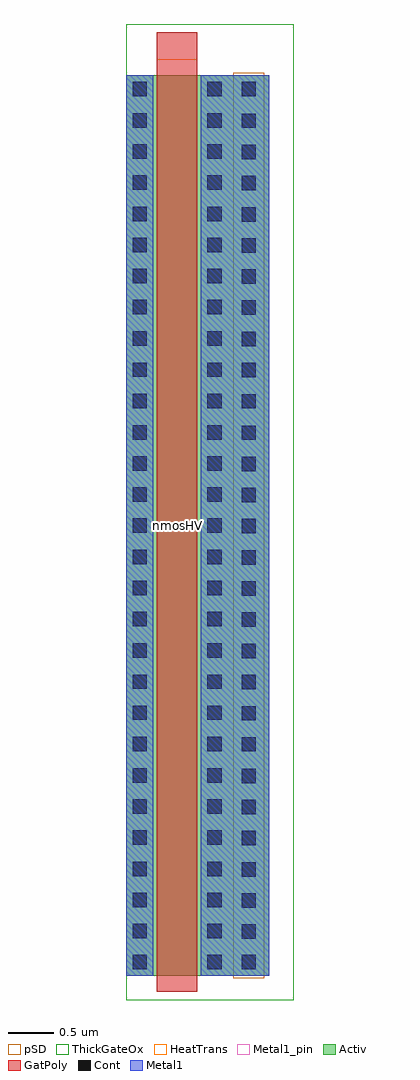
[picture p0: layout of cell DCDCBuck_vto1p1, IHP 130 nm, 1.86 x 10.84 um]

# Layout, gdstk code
import gdstk
lib = gdstk.Library(unit=1e-6, precision=5e-09)
def R(c, l, rs):  # rectangles x0, y0, x1, y1
    for r in rs: c.add(gdstk.rectangle(r[:2], r[2:], *l))
def A(c, l, x, y, w, h, nx, ny, dx, dy):  # array of equal rectangles
    R(c, l, [(x+i*dx, y+j*dy, x+i*dx+w, y+j*dy+h) for i in range(nx) for j in range(ny)])
Activ = (1, 0)
GatPoly = (5, 0)
Cont = (6, 0)
Metal1 = (8, 0)
Metal1_pin = (8, 2)
pSD = (14, 0)
ThickGateOx = (44, 0)
HeatTrans = (51, 0)

dcdcbuck_vto1p1 = lib.new_cell('DCDCBuck_vto1p1')
R(dcdcbuck_vto1p1, Activ, [(361.425,220.535,361.725,220.835), (361.425,220.535,362.555,230.535), (362.255,220.535,362.555,220.835), (362.555,220.535,363.015,230.535)])
R(dcdcbuck_vto1p1, GatPoly, [(361.765,220.355,362.215,231.015)])
A(dcdcbuck_vto1p1, Cont, 361.495, 220.605, 0.16, 0.16, 1, 4, 0, 0.345)
A(dcdcbuck_vto1p1, Cont, 362.325, 220.605, 0.16, 0.16, 1, 4, 0, 0.345)
A(dcdcbuck_vto1p1, Cont, 362.705, 220.945, 0.16, 0.16, 1, 3, 0, 0.345)
A(dcdcbuck_vto1p1, Cont, 362.705, 221.985, 0.16, 0.16, 1, 3, 0, 0.345)
A(dcdcbuck_vto1p1, Cont, 361.495, 221.99, 0.16, 0.16, 1, 3, 0, 0.345)
A(dcdcbuck_vto1p1, Cont, 362.325, 221.99, 0.16, 0.16, 1, 3, 0, 0.345)
A(dcdcbuck_vto1p1, Cont, 362.705, 223.025, 0.16, 0.16, 1, 4, 0, 0.345)
A(dcdcbuck_vto1p1, Cont, 361.495, 223.03, 0.16, 0.16, 1, 4, 0, 0.345)
A(dcdcbuck_vto1p1, Cont, 362.325, 223.03, 0.16, 0.16, 1, 4, 0, 0.345)
A(dcdcbuck_vto1p1, Cont, 362.705, 224.41, 0.16, 0.16, 1, 3, 0, 0.345)
A(dcdcbuck_vto1p1, Cont, 361.495, 224.415, 0.16, 0.16, 1, 3, 0, 0.345)
A(dcdcbuck_vto1p1, Cont, 362.325, 224.415, 0.16, 0.16, 1, 3, 0, 0.345)
A(dcdcbuck_vto1p1, Cont, 362.705, 225.45, 0.16, 0.16, 1, 4, 0, 0.345)
A(dcdcbuck_vto1p1, Cont, 361.495, 225.455, 0.16, 0.16, 1, 4, 0, 0.345)
A(dcdcbuck_vto1p1, Cont, 362.325, 225.455, 0.16, 0.16, 1, 4, 0, 0.345)
A(dcdcbuck_vto1p1, Cont, 362.705, 226.835, 0.16, 0.16, 1, 3, 0, 0.345)
A(dcdcbuck_vto1p1, Cont, 361.495, 226.84, 0.16, 0.16, 1, 3, 0, 0.345)
A(dcdcbuck_vto1p1, Cont, 362.325, 226.84, 0.16, 0.16, 1, 3, 0, 0.345)
A(dcdcbuck_vto1p1, Cont, 362.705, 227.875, 0.16, 0.16, 1, 4, 0, 0.345)
A(dcdcbuck_vto1p1, Cont, 361.495, 227.88, 0.16, 0.16, 1, 4, 0, 0.345)
A(dcdcbuck_vto1p1, Cont, 362.325, 227.88, 0.16, 0.16, 1, 4, 0, 0.345)
A(dcdcbuck_vto1p1, Cont, 362.705, 229.26, 0.16, 0.16, 1, 3, 0, 0.345)
A(dcdcbuck_vto1p1, Cont, 361.495, 229.265, 0.16, 0.16, 1, 3, 0, 0.345)
A(dcdcbuck_vto1p1, Cont, 362.325, 229.265, 0.16, 0.16, 1, 3, 0, 0.345)
R(dcdcbuck_vto1p1, Cont, [(362.705,220.605,362.865,220.765), (361.495,230.305,361.655,230.465), (362.325,230.305,362.485,230.465), (362.705,230.305,362.865,230.465)])
R(dcdcbuck_vto1p1, Metal1, [(361.425,220.535,361.725,230.535), (362.255,220.535,362.555,230.535), (362.555,220.535,363.015,230.535)])
R(dcdcbuck_vto1p1, Metal1_pin, [(361.425,220.535,361.725,230.535)])
R(dcdcbuck_vto1p1, pSD, [(362.615,220.505,362.955,230.565)])
R(dcdcbuck_vto1p1, ThickGateOx, [(361.425,220.265,363.285,231.105)])
R(dcdcbuck_vto1p1, HeatTrans, [(361.765,220.355,362.215,230.715)])
dcdcbuck_vto1p1.add(gdstk.Label('nmosHV', (361.99,225.535), layer=51, texttype=0))

lib.write_gds('DCDCBuck_vto1p1.gds')
